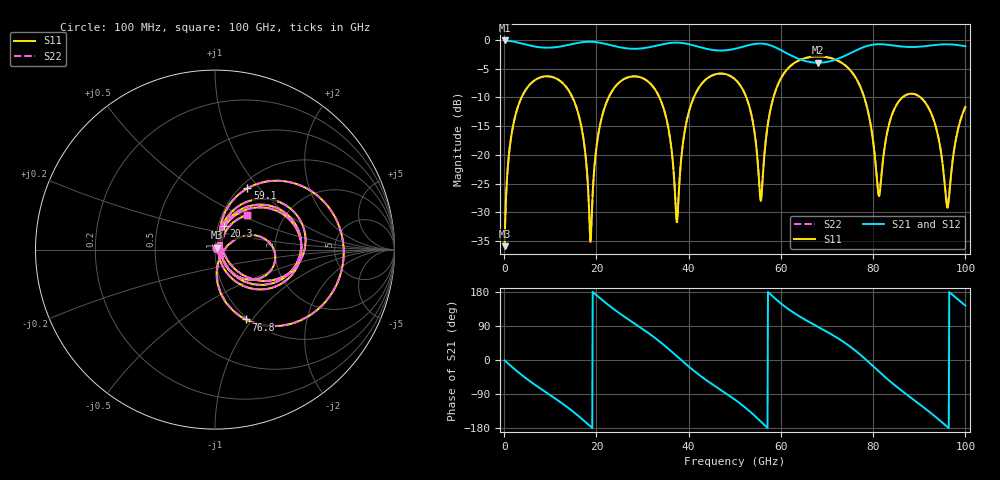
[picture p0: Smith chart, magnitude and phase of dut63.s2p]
! Touchstone file exported from HFSS 2026.1.0
!  File:  C:/ffzhzh/LocalFiles/Ansys_Project_Files/temp_train_TSV_RDL_63_1783624609_29156.aedt
!  Generated:  03:26:54 AM Jul 10, 2026
!  Design:  TSV_RDL
!  Project:  temp_train_TSV_RDL_63_1783624609_29156
! Variables:
!  h_bsmrdl = 4.46um
!  h_ox = 20um
!  h_rdl = 5um
!  h_sub = 58.5um
!  h_tmrdl = 3.4um
!  h_tsv = 58.5um
!  h_via = 3um
!  l_bsmrdl = 117.19um
!  l_sub = 3322.47um
!  l_tmrdl = 606.5um
!  m_sub = 200um
!  pitch = 51.87um
!  r_tsv = 10.08um
!  s_tmrdl = 10um
!  w_bsmrdl = 21.32um
!  w_sub = 500um
!  w_tmrdl = 26.98um
!  x_tsv_center1 = 619.99um
!  x_tsv_center2 = 758.5um
!  x_tsv_center3 = 1391.98um
!  x_tsv_center4 = 1530.49um
!  x_tsv_center5 = 2163.97um
!  x_tsv_center6 = 2302.48um
# GHz S MA R 50.000000
! Terminal data exported
! Port[1] = TM_RDL1_1_T1
! Port[2] = TM_RDL5_1_T1
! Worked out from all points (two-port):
!   1000 points, 100 MHz to 100 GHz, reference 50 ohm
!   highest |S21| = -0.11 dB at 100 MHz (marker M1); lowest = -4.0 dB at 68 GHz (marker M2)
!   |S21| within 3 dB of the highest: start of sweep to 63.25 GHz; 72.94 GHz to end of sweep
!   lowest |S11| = -35.9 dB at 100 MHz (marker M3), VSWR 1.03, Z = 51.2 + j1.07 ohm
!   |S11| at or under -10 dB: 14.81 GHz to 22.66 GHz (7.854 GHz wide, 41.9 % of centre); 78.06 GHz to 86.36 GHz (8.294 GHz wide, 10.1 % of centre); 90.27 GHz to end of sweep (the widest 3 of 6)
!   |S22| runs from -35.9 to -2.9 dB; largest |S21 - S12| = 8e-14
!   S11 on the Smith chart (normalised r, x): 100 MHz: 1.02, +0.02; 20.3 GHz: 1.06, +0.29; 59.1 GHz: 1.08, +0.86; 76.8 GHz: 0.98, -0.93; 100 GHz: 1.31, +0.54
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0.1  0.01606 40.4  0.9879 -1.2  0.9879 -1.2  0.01606 40.4
! Gamma 0 0 0 0
! Port Impedance 50 0 50 0
1.7  0.159 65.7  0.9708 -18.3  0.9708 -18.3  0.159 65.7
5.2  0.3929 34.8  0.8996 -52.5  0.8996 -52.5  0.3929 34.8
11.7  0.4516 -17.9  0.8691 -106.9  0.8691 -106.9  0.4516 -17.9
16.8  0.1708 -61.0  0.9527 -154.9  0.9527 -154.9  0.1708 -61.1
18.7  0.01782 -3.8  0.9631 -175.0  0.9631 -175.0  0.01743 -3.9
20.3  0.1413 69.7  0.9506 168.1  0.9506 168.1  0.1412 70.0
25.4  0.4407 27.7  0.857 119.9  0.857 119.9  0.4407 27.9
33.4  0.3322 -36.3  0.8978 51.7  0.8978 51.7  0.3322 -36.0
37.5  0.02603 18.9  0.9462 9.3  0.9462 9.3  0.02773 18.6
41.4  0.3348 54.5  0.8869 -31.1  0.8869 -31.1  0.335 54.3
50.1  0.4518 -13.9  0.8366 -105.2  0.8366 -105.2  0.4519 -13.8
55.6  0.03987 9.2  0.929 -161.9  0.929 -161.9  0.04129 9.7
59.1  0.3857 62.2  0.8495 158.5  0.8495 158.5  0.3859 62.1
66.7  0.7122 5.5  0.6374 96.5  0.6374 96.5  0.7123 5.6
68  0.7176 -2.7  0.6322 87.8  0.6322 87.8  0.7177 -2.6
76.8  0.4247 -66.4  0.8272 18.3  0.8272 18.3  0.4248 -66.0
81.2  0.04402 -36.0  0.9168 -29.8  0.9168 -29.8  0.0461 -35.5
83.4  0.1808 25.2  0.9043 -53.6  0.9043 -53.6  0.1812 24.8
91.1  0.2922 -33.7  0.8799 -126.3  0.8799 -126.3  0.2922 -33.5
96.1  0.03466 1.0  0.9148 -176.5  0.9148 -176.5  0.03662 1.5
100  0.2616 46.8  0.8805 143.6  0.8805 143.6  0.2621 46.5
